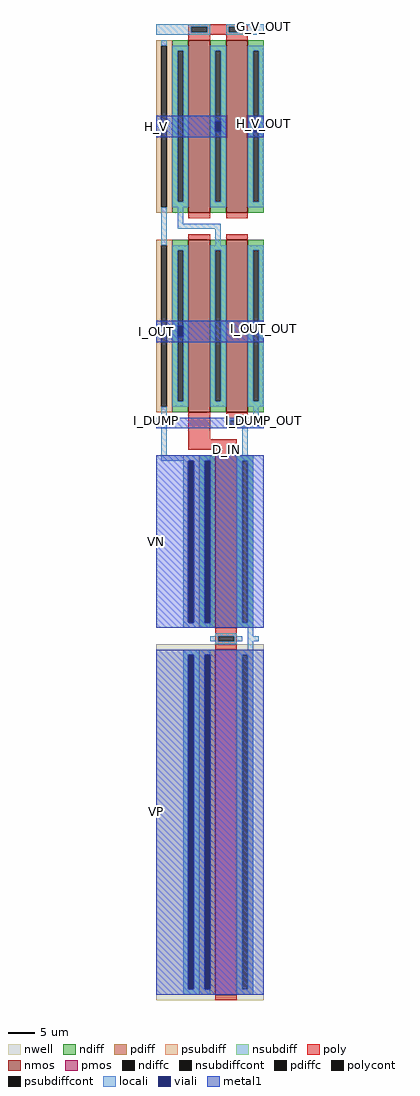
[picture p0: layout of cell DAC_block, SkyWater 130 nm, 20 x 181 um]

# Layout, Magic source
magic
tech sky130A
<< nwell >>
rect 1700 -10800 2100 -4200
rect 3500 -10800 3700 -4200
<< nmos >>
rect 2300 3800 2700 7000
rect 3000 3800 3400 7000
rect 2300 100 2700 3300
rect 3000 100 3400 3300
<< ndiff >>
rect 2000 6800 2300 7000
rect 2000 4000 2100 6800
rect 2200 4000 2300 6800
rect 2000 3800 2300 4000
rect 2700 6800 3000 7000
rect 2700 4000 2800 6800
rect 2900 4000 3000 6800
rect 2700 3800 3000 4000
rect 3400 6800 3700 7000
rect 3400 4000 3500 6800
rect 3600 4000 3700 6800
rect 3400 3800 3700 4000
rect 2000 3100 2300 3300
rect 2000 300 2100 3100
rect 2200 300 2300 3100
rect 2000 100 2300 300
rect 2700 3100 3000 3300
rect 2700 300 2800 3100
rect 2900 300 3000 3100
rect 2700 100 3000 300
rect 3400 3100 3700 3300
rect 3400 300 3500 3100
rect 3600 300 3700 3100
rect 3400 100 3700 300
<< ndiffc >>
rect 2100 4000 2200 6800
rect 2800 4000 2900 6800
rect 3500 4000 3600 6800
rect 2100 300 2200 3100
rect 2800 300 2900 3100
rect 3500 300 3600 3100
<< psubdiff >>
rect 1700 6900 2000 7000
rect 1700 3900 1800 6900
rect 1900 3900 2000 6900
rect 1700 3800 2000 3900
rect 1700 3200 2000 3300
rect 1700 200 1800 3200
rect 1900 200 2000 3200
rect 1700 100 2000 200
<< psubdiffcont >>
rect 1800 3900 1900 6900
rect 1800 200 1900 3200
<< poly >>
rect 2300 7250 3400 7300
rect 2300 7150 2350 7250
rect 2650 7150 3050 7250
rect 3350 7150 3400 7250
rect 2300 7100 3400 7150
rect 2300 7000 2700 7100
rect 3000 7000 3400 7100
rect 2300 3700 2700 3800
rect 3000 3700 3400 3800
rect 2300 3300 2700 3400
rect 3000 3300 3400 3400
rect 2300 -400 2700 100
rect 3000 -50 3400 100
rect 3000 -150 3050 -50
rect 3350 -150 3400 -50
rect 3000 -200 3400 -150
rect 2300 -600 3200 -400
<< polycont >>
rect 2350 7150 2650 7250
rect 3050 7150 3350 7250
rect 3050 -150 3350 -50
<< locali >>
rect 1700 7250 2700 7300
rect 1700 7150 2350 7250
rect 2650 7150 2700 7250
rect 1700 7100 2700 7150
rect 3000 7250 3700 7300
rect 3000 7150 3050 7250
rect 3350 7150 3700 7250
rect 3000 7100 3700 7150
rect 1800 6900 1900 7000
rect 2000 6800 2300 6900
rect 2000 4000 2100 6800
rect 2200 4000 2300 6800
rect 2000 3900 2300 4000
rect 2700 6800 3000 6900
rect 2700 4000 2800 6800
rect 2900 4000 3000 6800
rect 2700 3900 3000 4000
rect 3400 6800 3700 6900
rect 3400 4000 3500 6800
rect 3600 4000 3700 6800
rect 3400 3900 3700 4000
rect 1800 3200 1900 3900
rect 2100 3600 2200 3900
rect 2100 3500 2900 3600
rect 2800 3200 2900 3500
rect 2000 3100 2300 3200
rect 2000 300 2100 3100
rect 2200 300 2300 3100
rect 2000 200 2300 300
rect 2700 3100 3000 3200
rect 2700 300 2800 3100
rect 2900 300 3000 3100
rect 2700 200 3000 300
rect 3400 3100 3700 3200
rect 3400 300 3500 3100
rect 3600 300 3700 3100
rect 3400 200 3700 300
rect 1800 -700 1900 200
rect 3500 0 3600 200
rect 3000 -50 3400 0
rect 3000 -150 3050 -50
rect 3350 -150 3400 -50
rect 3000 -200 3400 -150
rect 3450 -50 3650 0
rect 3450 -150 3500 -50
rect 3600 -150 3650 -50
rect 3450 -200 3650 -150
rect 3300 -700 3400 -200
rect 1800 -800 2200 -700
<< viali >>
rect 2800 5300 2900 5500
rect 3500 5300 3600 5500
rect 2100 1500 2200 1700
rect 3500 -150 3600 -50
<< metal1 >>
rect 1700 5500 3000 5600
rect 1700 5300 2800 5500
rect 2900 5300 3000 5500
rect 1700 5200 3000 5300
rect 3400 5500 3700 5600
rect 3400 5300 3500 5500
rect 3600 5300 3700 5500
rect 3400 5200 3700 5300
rect 1700 1700 3700 1800
rect 1700 1500 2100 1700
rect 2200 1500 3700 1700
rect 1700 1400 3700 1500
rect 1700 -50 3700 0
rect 1700 -150 3500 -50
rect 3600 -150 3700 -50
rect 1700 -200 3700 -150
rect 1700 -3900 2100 -700
rect 3500 -3900 3700 -700
rect 1700 -10700 2100 -4300
rect 3500 -10700 3700 -4300
use inverter  inverter_0
transform 1 0 2500 0 1 -11600
box -400 800 1100 11000
<< labels >>
rlabel metal1 1700 -7300 1700 -7300 7 VP
port 7 w
rlabel metal1 1700 -2300 1700 -2300 7 VN
port 6 w
rlabel metal1 1700 1600 1700 1600 3 I_OUT
port 2 e
rlabel metal1 1700 5400 1700 5400 7 H_V
port 5 w
rlabel poly 3000 -600 3000 -600 1 D_IN
port 3 s
rlabel metal1 3700 -50 3700 -50 3 I_DUMP_OUT
port 8 e
rlabel metal1 3700 1650 3700 1650 3 I_OUT_OUT
port 9 e
rlabel metal1 3700 5450 3700 5450 3 H_V_OUT
port 10 e
rlabel metal1 1700 -50 1700 -50 7 I_DUMP
port 1 w
rlabel locali 3700 7250 3700 7250 3 G_V_OUT
port 11 e
<< end >>

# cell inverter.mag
magic
tech sky130A
<< nwell >>
rect -400 800 1100 7400
<< nmos >>
rect 300 7700 700 10900
<< pmos >>
rect 300 900 700 7300
<< ndiff >>
rect 0 10800 300 10900
rect 0 7800 100 10800
rect 200 7800 300 10800
rect 0 7700 300 7800
rect 700 10800 1000 10900
rect 700 7800 800 10800
rect 900 7800 1000 10800
rect 700 7700 1000 7800
<< pdiff >>
rect 0 7200 300 7300
rect 0 1000 100 7200
rect 200 1000 300 7200
rect 0 900 300 1000
rect 700 7200 1000 7300
rect 700 1000 800 7200
rect 900 1000 1000 7200
rect 700 900 1000 1000
<< ndiffc >>
rect 100 7800 200 10800
rect 800 7800 900 10800
<< pdiffc >>
rect 100 1000 200 7200
rect 800 1000 900 7200
<< psubdiff >>
rect -300 10800 0 10900
rect -300 7800 -200 10800
rect -100 7800 0 10800
rect -300 7700 0 7800
<< nsubdiff >>
rect -300 7200 0 7300
rect -300 1000 -200 7200
rect -100 1000 0 7200
rect -300 900 0 1000
<< psubdiffcont >>
rect -200 7800 -100 10800
<< nsubdiffcont >>
rect -200 1000 -100 7200
<< poly >>
rect 300 10900 700 11000
rect 300 7550 700 7700
rect 300 7450 350 7550
rect 650 7450 700 7550
rect 300 7300 700 7450
rect 300 800 700 900
<< polycont >>
rect 350 7450 650 7550
<< locali >>
rect -300 10800 200 10900
rect -300 7800 -200 10800
rect -100 7800 100 10800
rect -300 7700 200 7800
rect 700 10800 1000 10900
rect 700 7800 800 10800
rect 900 7800 1000 10800
rect 700 7700 1000 7800
rect 300 7550 700 7600
rect 900 7550 1000 7700
rect 200 7450 350 7550
rect 650 7450 800 7550
rect 900 7450 1100 7550
rect 300 7400 700 7450
rect 900 7300 1000 7450
rect -300 7200 200 7300
rect -300 1000 -200 7200
rect -100 1000 100 7200
rect -300 900 200 1000
rect 700 7200 1000 7300
rect 700 1000 800 7200
rect 900 1000 1000 7200
rect 700 900 1000 1000
<< viali >>
rect -200 7800 -100 10800
rect 100 7800 200 10800
rect -200 1000 -100 7200
rect 100 1000 200 7200
<< metal1 >>
rect -400 10800 1000 10900
rect -400 7800 -200 10800
rect -100 7800 100 10800
rect 200 7800 1000 10800
rect -400 7700 1000 7800
rect -400 7200 1000 7300
rect -400 1000 -200 7200
rect -100 1000 100 7200
rect 200 1000 1000 7200
rect -400 900 1000 1000
<< labels >>
flabel metal1 -400 5700 -400 5700 7 FreeSans 800 0 0 0 VP
port 3 w
flabel metal1 -400 9700 -400 9700 7 FreeSans 800 0 0 0 VN
port 4 w
flabel locali 1100 7500 1100 7500 3 FreeSans 800 0 0 0 Q
port 6 e
flabel poly 500 800 500 800 5 FreeSans 800 0 0 0 A
port 5 s
<< end >>
